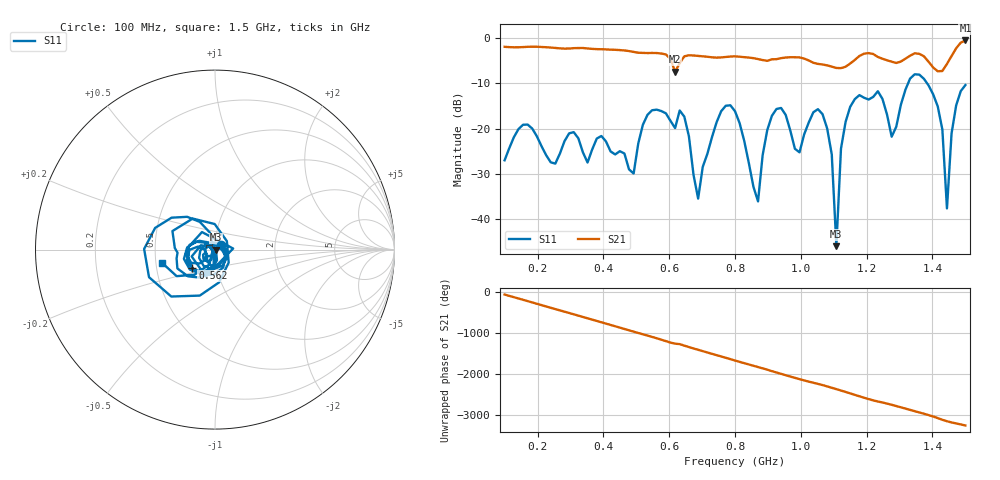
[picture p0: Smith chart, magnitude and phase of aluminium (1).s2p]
! NanoVNA-App
! Date: 2025-09-25 14:55:17
! Start: 100MHz Stop: 1,5GHz Points: 101
! S-Parameter data: F S11 S21 S12 S22
# Hz S RI R 50
!  Frequency  S11_Real  S11_Imag  S21_Real  S21_Imag  S12_Real  S12_Imag  S22_Real  S22_Imag
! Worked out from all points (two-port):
!   101 points, 100 MHz to 1.5 GHz, reference 50 ohm
!   highest |S21| = -0.51 dB at 1.5 GHz (marker M1); lowest = -7.5 dB at 618 MHz (marker M2)
!   |S21| within 3 dB of the highest: start of sweep to 583.8 MHz; 1.19 GHz to 1.22 GHz (30.06 MHz wide, 2.49 % of centre) (the widest 2 of 4)
!   lowest |S11| = -46.0 dB at 1.108 GHz (marker M3), VSWR 1.01, Z = 50.5 - j0.05 ohm
!   |S11| at or under -10 dB: start of sweep to 1.326 GHz; 1.384 GHz to end of sweep
!   S12 and S22 are empty: the file has one direction only
!   S11 on the Smith chart (normalised r, x): 100 MHz: 1.07, +0.06; 562 MHz: 0.76, -0.16; 1.5 GHz: 0.54, -0.09
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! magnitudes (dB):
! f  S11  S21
! 100 MHz  -27.0  -1.9
! 338 MHz  -25.3  -2.2
! 492 MHz  -29.9  -3.0
! 562 MHz  -15.8  -3.3
! 576 MHz  -16.1  -3.4
! 618 MHz  -19.9  -7.5
! 646 MHz  -17.4  -4.0
! 688 MHz  -35.5  -3.9
! 800 MHz  -16.2  -4.0
! 870 MHz  -36.1  -4.6
! 912 MHz  -17.2  -4.7
! 1.038 GHz  -16.4  -5.5
! 1.094 GHz  -25.7  -6.3
! 1.108 GHz  -46.0  -6.6
! 1.122 GHz  -24.4  -6.6
! 1.15 GHz  -15.2  -5.6
! 1.276 GHz  -21.8  -5.2
! 1.374 GHz  -9.0  -4.0
! 1.43 GHz  -20.2  -7.3
! 1.444 GHz  -37.7  -5.7
! 1.458 GHz  -21.1  -4.0
! 1.5 GHz  -10.4  -0.5
